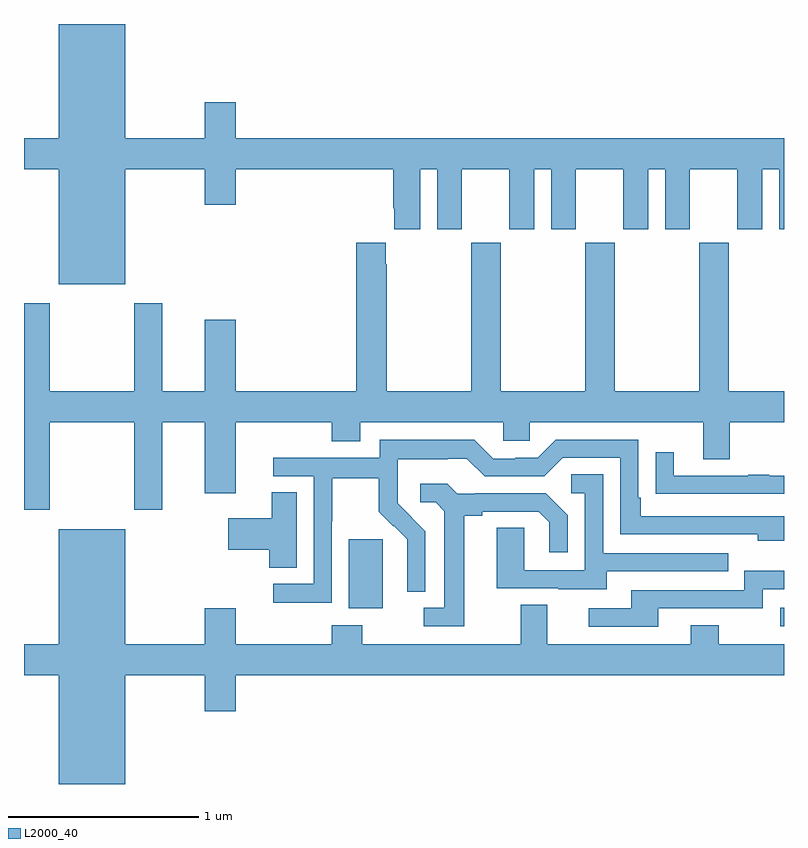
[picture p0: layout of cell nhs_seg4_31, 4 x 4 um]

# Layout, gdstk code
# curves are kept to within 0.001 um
import gdstk
lib = gdstk.Library(unit=1e-6, precision=1e-09)
def R(c, l, rs):  # rectangles x0, y0, x1, y1
    for r in rs: c.add(gdstk.rectangle(r[:2], r[2:], *l))
def P(c, l, *ps):  # polygons
    for p in ps: c.add(gdstk.Polygon(p, *l))
L2000_40 = (2000, 40)

nhs_seg4_31 = lib.new_cell('nhs_seg4_31')
R(nhs_seg4_31, L2000_40, [(114.981,811.731,115,811.827), (112.709,811.826,112.888,812.187)])
P(nhs_seg4_31, L2000_40, [(111.532,814.136),(111.95,814.136),(111.95,813.948),(112.114,813.948),(112.114,814.136),(112.943,814.136),(112.943,813.931),(112.949,813.931),(112.949,813.819),(113.086,813.819),(113.086,814.136),(113.174,814.136),(113.174,813.819),(113.305,813.819),(113.305,814.136),(113.555,814.136),(113.555,813.819),(113.686,813.819),(113.686,814.136),(113.774,814.136),(113.774,813.819),(113.905,813.819),(113.905,814.136),(114.155,814.136),(114.155,813.819),(114.286,813.819),(114.286,814.136),(114.374,814.136),(114.374,813.819),(114.505,813.819),(114.505,814.136),(114.755,814.136),(114.755,813.819),(114.886,813.819),(114.886,814.136),(114.974,814.136),(114.974,813.819),(115,813.819),(115,814.3),(112.114,814.3),(112.114,814.489),(111.95,814.489),(111.95,814.3),(111.532,814.3),(111.532,814.9),(111.182,814.9),(111.182,814.3),(111,814.3),(111,814.136),(111.182,814.136),(111.182,813.53),(111.532,813.53)],
  [(111.135,812.804),(111.58,812.804),(111.58,812.343),(111.727,812.343),(111.727,812.804),(111.95,812.804),(111.95,812.43),(112.114,812.43),(112.114,812.804),(112.619,812.804),(112.619,812.705),(112.771,812.705),(112.771,812.804),(113.523,812.804),(113.523,812.706),(113.661,812.706),(113.661,812.804),(114.575,812.804),(114.575,812.61),(114.715,812.61),(114.715,812.804),(115,812.804),(115,812.968),(114.708,812.968),(114.708,813.748),(114.553,813.748),(114.553,812.968),(114.108,812.968),(114.108,813.748),(113.953,813.748),(113.953,812.968),(113.508,812.968),(113.508,813.748),(113.353,813.748),(113.353,812.968),(112.908,812.968),(112.908,813.635),(112.903,813.635),(112.903,813.748),(112.748,813.748),(112.748,812.968),(112.114,812.968),(112.114,813.343),(111.95,813.343),(111.95,812.968),(111.727,812.968),(111.727,813.43),(111.58,813.43),(111.58,812.968),(111.135,812.968),(111.135,813.43),(111,813.43),(111,812.343),(111.135,812.343)],
  [(112.62,812.284),(112.623,812.284),(112.623,812.508),(112.867,812.508),(112.867,812.333),(112.944,812.256),(112.947,812.259),(113.018,812.189),(113.018,812.066),(113.016,812.066),(113.016,811.912),(113.112,811.912),(113.112,812.23),(112.966,812.378),(112.966,812.475),(112.968,812.475),(112.968,812.609),(113.231,812.609),(113.231,812.613),(113.331,812.613),(113.424,812.52),(113.739,812.52),(113.835,812.616),(114.138,812.616),(114.138,812.214),(114.863,812.214),(114.863,812.18),(115,812.18),(115,812.31),(114.247,812.31),(114.247,812.407),(114.234,812.407),(114.234,812.712),(113.799,812.712),(113.703,812.616),(113.585,812.616),(113.585,812.613),(113.469,812.613),(113.369,812.713),(112.872,812.713),(112.872,812.616),(112.311,812.616),(112.311,812.52),(112.524,812.52),(112.524,811.953),(112.311,811.953),(112.311,811.855),(112.62,811.855)],
  [(115,812.523),(114.923,812.523),(114.923,812.528),(114.811,812.528),(114.811,812.523),(114.421,812.523),(114.421,812.647),(114.325,812.647),(114.325,812.428),(114.427,812.428),(114.427,812.427),(115,812.427)],
  [(114.067,812.019),(114.707,812.019),(114.707,812.115),(114.048,812.115),(114.048,812.531),(113.88,812.531),(113.88,812.43),(113.952,812.43),(113.952,812.025),(113.634,812.025),(113.634,812.249),(113.489,812.249),(113.489,811.929),(113.813,811.929),(113.813,811.925),(114.067,811.925)],
  [(113.317,812.312),(113.413,812.312),(113.413,812.334),(113.708,812.334),(113.765,812.277),(113.765,812.121),(113.862,812.121),(113.862,812.314),(113.746,812.43),(113.374,812.43),(113.374,812.427),(113.28,812.427),(113.228,812.479),(113.085,812.479),(113.085,812.382),(113.166,812.382),(113.213,812.335),(113.213,811.827),(113.103,811.827),(113.103,811.731),(113.317,811.731)],
  [(112.435,812.435),(112.304,812.435),(112.304,812.299),(112.074,812.299),(112.074,812.134),(112.292,812.134),(112.292,812.038),(112.435,812.038)],
  [(111.532,811.472),(111.95,811.472),(111.95,811.284),(112.114,811.284),(112.114,811.472),(115,811.472),(115,811.636),(114.657,811.636),(114.657,811.735),(114.509,811.735),(114.509,811.636),(113.755,811.636),(113.755,811.844),(113.615,811.844),(113.615,811.636),(112.779,811.636),(112.779,811.735),(112.619,811.735),(112.619,811.636),(112.114,811.636),(112.114,811.825),(111.95,811.825),(111.95,811.636),(111.532,811.636),(111.532,812.242),(111.182,812.242),(111.182,811.636),(111,811.636),(111,811.472),(111.182,811.472),(111.182,810.9),(111.532,810.9)],
  [(114.337,811.824),(114.888,811.824),(114.888,811.926),(115,811.926),(115,812.023),(114.792,812.023),(114.792,811.92),(114.197,811.92),(114.197,811.824),(113.973,811.824),(113.973,811.728),(114.337,811.728)])

lib.write_gds('nhs_seg4_31.gds')
